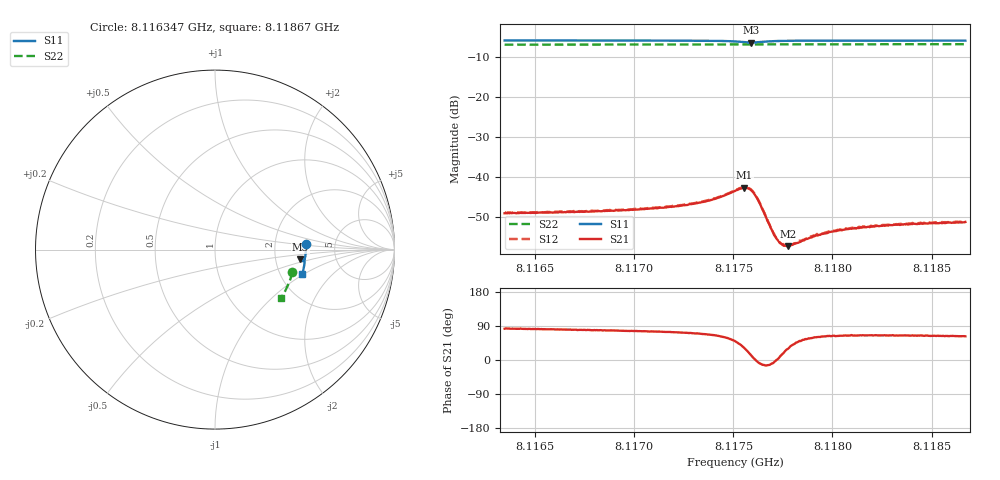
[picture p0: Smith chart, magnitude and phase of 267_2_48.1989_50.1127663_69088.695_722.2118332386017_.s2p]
#  HZ  S  RI  R  50.00
! Rohde & Schwarz Vector Network Analyzer
! Rohde-Schwarz,ZNB20-2Port,1311601062101988,3.16
! Created: UTC 3/20/2024, 11:48:00 AM
! freq[Hz]  re:S11  im:S11  re:S21  im:S21  re:S12  im:S12  re:S22  im:S22
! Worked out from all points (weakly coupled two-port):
!   401 points, 8.116347 GHz to 8.11867 GHz, reference 50 ohm
!   highest |S21| = -42.61 dB at 8.117555 GHz (marker M1); lowest = -57.2 dB at 8.117776 GHz (marker M2)
!   lowest |S11| = -6.4 dB at 8.11759 GHz (marker M3), VSWR 2.83, Z = 138 - j19.5 ohm
!   |S11| at or under -10 dB: nowhere
!   |S22| runs from -6.9 to -6.8 dB; largest |S21 - S12| = 0.0002
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8.1163468e9  0.5059 0.0324  0.000458 0.00353  0.000492 0.00365  0.4315 -0.1252
8.116736e9  0.5064 0.00279  0.000679 0.00366  0.00075 0.00372  0.4244 -0.1512
8.1171251e9  0.5047 -0.0277  0.00108 0.00402  0.00117 0.00405  0.4153 -0.1768
8.1172587e9  0.5031 -0.0391  0.00141 0.00429  0.00149 0.00438  0.412 -0.1856
8.1173691e9  0.5005 -0.0495  0.00196 0.00469  0.002 0.00475  0.4089 -0.1928
8.1174388e9  0.4969 -0.0568  0.00267 0.00506  0.00278 0.00511  0.4067 -0.1974
8.1175085e9  0.4889 -0.0637  0.00436 0.00517  0.00448 0.0052  0.4044 -0.2018
8.1175549e9  0.479 -0.0627  0.00628 0.00392  0.00644 0.00391  0.4029 -0.2044
8.1175724e9  0.4758 -0.0592  0.00675 0.00283  0.00691 0.00278  0.4021 -0.2052
8.1175898e9  0.4748 -0.0543  0.00674 0.00146  0.00689 0.00143  0.4018 -0.206
8.1176072e9  0.4766 -0.0495  0.00613 0.000275  0.00627 0.000209  0.4014 -0.2069
8.1176246e9  0.4804 -0.0466  0.00517 -0.000545  0.00526 -0.000632  0.401 -0.2078
8.1176885e9  0.4931 -0.0496  0.0023 -0.000455  0.00233 -0.000517  0.3997 -0.2121
8.1177059e9  0.4949 -0.0518  0.00189 -0.000181  0.00195 -0.000212  0.3992 -0.2132
8.1177176e9  0.4958 -0.0533  0.00172 1.29e-06  0.00174 -4.51e-05  0.399 -0.2139
8.1177466e9  0.4973 -0.0571  0.00141 0.000389  0.0014 0.000382  0.3982 -0.216
8.1177756e9  0.4982 -0.0606  0.00121 0.000684  0.00122 0.000709  0.3973 -0.2178
8.1178976e9  0.4986 -0.0731  0.00095 0.00152  0.000966 0.00157  0.3935 -0.2256
8.1179964e9  0.4979 -0.0818  0.000951 0.00188  0.000977 0.0019  0.3903 -0.2318
8.1180777e9  0.4969 -0.0885  0.00098 0.00204  0.000991 0.00205  0.3875 -0.2366
8.1182868e9  0.4937 -0.1049  0.00107 0.0023  0.0011 0.00234  0.3801 -0.2495
8.1186701e9  0.4867 -0.1333  0.00128 0.00247  0.00131 0.00249  0.3657 -0.2721
